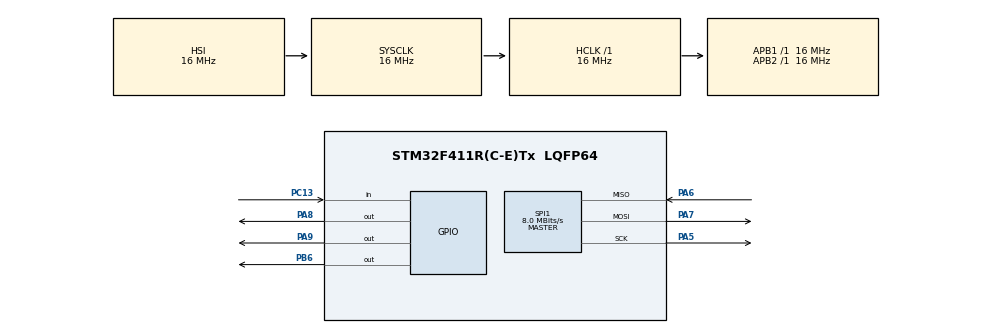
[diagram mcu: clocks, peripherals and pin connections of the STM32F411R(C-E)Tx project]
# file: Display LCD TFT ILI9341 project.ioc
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Mcu.Family=STM32F4
Mcu.Name=STM32F411R(C-E)Tx
Mcu.Package=LQFP64
NVIC.PriorityGroup=NVIC_PRIORITYGROUP_0
PA5.Mode=Full_Duplex_Master
PA5.Signal=SPI1_SCK
PA6.Mode=Full_Duplex_Master
PA6.Signal=SPI1_MISO
PA7.Mode=Full_Duplex_Master
PA7.Signal=SPI1_MOSI
PA8.Signal=GPIO_Output
PA9.PinState=GPIO_PIN_SET
PA9.Signal=GPIO_Output
PB6.PinState=GPIO_PIN_SET
PB6.Signal=GPIO_Output
PC13-ANTI_TAMP.GPIO_PuPd=GPIO_PULLUP
PC13-ANTI_TAMP.Signal=GPIO_Input
ProjectManager.HeapSize=0x200
ProjectManager.StackSize=0x400
ProjectManager.TargetToolchain=STM32CubeIDE
RCC.48MHZClocksFreq_Value=84000000
RCC.AHBFreq_Value=16000000
RCC.APB1Freq_Value=16000000
RCC.APB1TimFreq_Value=16000000
RCC.APB2Freq_Value=16000000
RCC.APB2TimFreq_Value=16000000
RCC.CortexFreq_Value=16000000
RCC.FLatency-AdvancedSettings=FLASH_LATENCY_0
RCC.HCLKFreq_Value=16000000
RCC.HSE_VALUE=8000000
RCC.HSI_VALUE=16000000
RCC.LSE_VALUE=32768
RCC.PLLN=336
RCC.PLLP=RCC_PLLP_DIV4
RCC.SYSCLKFreq_VALUE=16000000
RCC.VCOOutputFreq_Value=336000000
SPI1.CalculateBaudRate=8.0 MBits/s
SPI1.Direction=SPI_DIRECTION_2LINES
SPI1.Mode=SPI_MODE_MASTER
SPI1.VirtualType=VM_MASTER
TIM3.Prescaler=16000-1
VP_TIM3_VS_ClockSourceINT.Mode=Internal
board=NUCLEO-F411RE

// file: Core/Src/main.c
/* USER CODE BEGIN Header */
/**
  ******************************************************************************
  * @file           : main.c
  * @brief          : Main program body
  ******************************************************************************
  * @attention
  *
  * Copyright (c) 2024 STMicroelectronics.
  * All rights reserved.
  *
  * This software is licensed under terms that can be found in the LICENSE file
  * in the root directory of this software component.
  * If no LICENSE file comes with this software, it is provided AS-IS.
  *
  ******************************************************************************
  */
/* USER CODE END Header */
#include "main.h"

/* USER CODE BEGIN Includes */
#include "ili9341.h"
#include "lvgl.h"
/* USER CODE END Includes */

/* USER CODE BEGIN PD */
#define HORIZONTAL_RESOLUTION 320
#define VERTICAL_RESOLUTION 240
#define BYTES_PER_PIXEL (LV_COLOR_FORMAT_GET_SIZE(LV_COLOR_FORMAT_RGB565))
/* USER CODE END PD */

SPI_HandleTypeDef hspi1;

TIM_HandleTypeDef htim3;

/* USER CODE BEGIN PV */
lcdPropertiesTypeDef displayLcd = {
		.height = 240,
		.width = 320,
		.orientation = LCD_ORIENTATION_LANDSCAPE
};
static uint8_t buf1[HORIZONTAL_RESOLUTION * VERTICAL_RESOLUTION * BYTES_PER_PIXEL / 10];
uint8_t idx = 0;
uint32_t t, ut;
/* USER CODE END PV */

void SystemClock_Config(void);
static void MX_GPIO_Init(void);
static void MX_SPI1_Init(void);
static void MX_TIM3_Init(void);
/* USER CODE BEGIN PFP */
void my_flush_cb(lv_display_t * display, const lv_area_t * area, uint8_t * px_map)
{
    /* The most simple case (also the slowest) to send all rendered pixels to the
     * screen one-by-one.  `put_px` is just an example.  It needs to be implemented by you. */
    uint16_t * buf16 = (uint16_t *)px_map; /* Let's say it's a 16 bit (RGB565) display */
    int32_t x, y;
    for(y = area->y1; y <= area->y2; y++) {
        for(x = area->x1; x <= area->x2; x++) {
            ili9341_drawPixel(&displayLcd,(uint16_t) x, (uint16_t) y, *buf16);
            buf16++;
        }
    }

    /* IMPORTANT!!!
     * Inform LVGL that flushing is complete so buffer can be modified again. */
    lv_display_flush_ready(display);
}

void delay_ms(uint16_t time) {
	__HAL_TIM_SET_COUNTER(&htim3, 0);
	while(__HAL_TIM_GET_COUNTER(&htim3) <= time);
}

void button_clicked() {
	switch (idx) {
		case 0:
			lv_obj_set_style_bg_color(lv_screen_active(), lv_color_hex(COLOR_GREEN), LV_PART_MAIN);
			break;
		case 1:
			lv_obj_set_style_bg_color(lv_screen_active(), lv_color_hex(COLOR_RED), LV_PART_MAIN);
			break;
		case 2:
			lv_obj_set_style_bg_color(lv_screen_active(), lv_color_hex(COLOR_WHITE), LV_PART_MAIN);
			break;
		case 3:
			lv_obj_set_style_bg_color(lv_screen_active(), lv_color_hex(COLOR_MAGENTA), LV_PART_MAIN);
			break;
		default:
			break;
	}
	idx++;
}
/* USER CODE END PFP */

int main(void)
{

  /* MCU Configuration--------------------------------------------------------*/

  /* Reset of all peripherals, Initializes the Flash interface and the Systick. */
  HAL_Init();

  /* Configure the system clock */
  SystemClock_Config();

  /* Initialize all configured peripherals */
  MX_GPIO_Init();
  MX_SPI1_Init();
  MX_TIM3_Init();
  /* USER CODE BEGIN 2 */
  HAL_TIM_Base_Start(&htim3);
  ili9341_init();
  ili9341_setOrientation(&displayLcd);
  lv_init();
  lv_tick_set_cb(HAL_GetTick);
  //Cria display
  lv_display_t * display1 = lv_display_create(HORIZONTAL_RESOLUTION, VERTICAL_RESOLUTION);
  //Seta para usar Buffer no modo Render partial que usa 1/10 do tamanho de bytes do display
  lv_display_set_buffers(display1, buf1, NULL, sizeof(buf1), LV_DISPLAY_RENDER_MODE_PARTIAL);
  lv_display_set_flush_cb(display1, my_flush_cb);
  /* USER CODE END 2 */

  /* Infinite loop */
  /* USER CODE BEGIN WHILE */
  while (1)
  {
	  uint32_t time_till_next = lv_timer_handler();
	  delay_ms((uint16_t) time_till_next);
	  if(HAL_GPIO_ReadPin(GPIOC, GPIO_PIN_13) == GPIO_PIN_RESET) {
		  t = HAL_GetTick();
		  if(t - ut > 10) {
			  if(idx == 3) idx = 0;
			  button_clicked();
		  }
		  ut = t;
	  }
    /* USER CODE END WHILE */

  }
}

void SystemClock_Config(void)
{
  RCC_OscInitTypeDef RCC_OscInitStruct = {0};
  RCC_ClkInitTypeDef RCC_ClkInitStruct = {0};

  /** Configure the main internal regulator output voltage
  */
  __HAL_RCC_PWR_CLK_ENABLE();
  __HAL_PWR_VOLTAGESCALING_CONFIG(PWR_REGULATOR_VOLTAGE_SCALE1);

  /** Initializes the RCC Oscillators according to the specified parameters
  * in the RCC_OscInitTypeDef structure.
  */
  RCC_OscInitStruct.OscillatorType = RCC_OSCILLATORTYPE_HSI;
  RCC_OscInitStruct.HSIState = RCC_HSI_ON;
  RCC_OscInitStruct.HSICalibrationValue = RCC_HSICALIBRATION_DEFAULT;
  RCC_OscInitStruct.PLL.PLLState = RCC_PLL_NONE;
  if (HAL_RCC_OscConfig(&RCC_OscInitStruct) != HAL_OK)
  {
    Error_Handler();
  }

  /** Initializes the CPU, AHB and APB buses clocks
  */
  RCC_ClkInitStruct.ClockType = RCC_CLOCKTYPE_HCLK|RCC_CLOCKTYPE_SYSCLK
                              |RCC_CLOCKTYPE_PCLK1|RCC_CLOCKTYPE_PCLK2;
  RCC_ClkInitStruct.SYSCLKSource = RCC_SYSCLKSOURCE_HSI;
  RCC_ClkInitStruct.AHBCLKDivider = RCC_SYSCLK_DIV1;
  RCC_ClkInitStruct.APB1CLKDivider = RCC_HCLK_DIV1;
  RCC_ClkInitStruct.APB2CLKDivider = RCC_HCLK_DIV1;

  if (HAL_RCC_ClockConfig(&RCC_ClkInitStruct, FLASH_LATENCY_0) != HAL_OK)
  {
    Error_Handler();
  }
}

static void MX_SPI1_Init(void)
{

  /* SPI1 parameter configuration*/
  hspi1.Instance = SPI1;
  hspi1.Init.Mode = SPI_MODE_MASTER;
  hspi1.Init.Direction = SPI_DIRECTION_2LINES;
  hspi1.Init.DataSize = SPI_DATASIZE_8BIT;
  hspi1.Init.CLKPolarity = SPI_POLARITY_LOW;
  hspi1.Init.CLKPhase = SPI_PHASE_1EDGE;
  hspi1.Init.NSS = SPI_NSS_SOFT;
  hspi1.Init.BaudRatePrescaler = SPI_BAUDRATEPRESCALER_2;
  hspi1.Init.FirstBit = SPI_FIRSTBIT_MSB;
  hspi1.Init.TIMode = SPI_TIMODE_DISABLE;
  hspi1.Init.CRCCalculation = SPI_CRCCALCULATION_DISABLE;
  hspi1.Init.CRCPolynomial = 10;
  if (HAL_SPI_Init(&hspi1) != HAL_OK)
  {
    Error_Handler();
  }

}

static void MX_TIM3_Init(void)
{

  TIM_ClockConfigTypeDef sClockSourceConfig = {0};
  TIM_MasterConfigTypeDef sMasterConfig = {0};

  htim3.Instance = TIM3;
  htim3.Init.Prescaler = 16000-1;
  htim3.Init.CounterMode = TIM_COUNTERMODE_UP;
  htim3.Init.Period = 65535;
  htim3.Init.ClockDivision = TIM_CLOCKDIVISION_DIV1;
  htim3.Init.AutoReloadPreload = TIM_AUTORELOAD_PRELOAD_DISABLE;
  if (HAL_TIM_Base_Init(&htim3) != HAL_OK)
  {
    Error_Handler();
  }
  sClockSourceConfig.ClockSource = TIM_CLOCKSOURCE_INTERNAL;
  if (HAL_TIM_ConfigClockSource(&htim3, &sClockSourceConfig) != HAL_OK)
  {
    Error_Handler();
  }
  sMasterConfig.MasterOutputTrigger = TIM_TRGO_RESET;
  sMasterConfig.MasterSlaveMode = TIM_MASTERSLAVEMODE_DISABLE;
  if (HAL_TIMEx_MasterConfigSynchronization(&htim3, &sMasterConfig) != HAL_OK)
  {
    Error_Handler();
  }

}

static void MX_GPIO_Init(void)
{
  GPIO_InitTypeDef GPIO_InitStruct = {0};

  /* GPIO Ports Clock Enable */
  __HAL_RCC_GPIOC_CLK_ENABLE();
  __HAL_RCC_GPIOA_CLK_ENABLE();
  __HAL_RCC_GPIOB_CLK_ENABLE();

  /*Configure GPIO pin Output Level */
  HAL_GPIO_WritePin(GPIOA, GPIO_PIN_8, GPIO_PIN_RESET);

  /*Configure GPIO pin Output Level */
  HAL_GPIO_WritePin(GPIOA, GPIO_PIN_9, GPIO_PIN_SET);

  /*Configure GPIO pin Output Level */
  HAL_GPIO_WritePin(GPIOB, GPIO_PIN_6, GPIO_PIN_SET);

  /*Configure GPIO pin : PC13 */
  GPIO_InitStruct.Pin = GPIO_PIN_13;
  GPIO_InitStruct.Mode = GPIO_MODE_INPUT;
  GPIO_InitStruct.Pull = GPIO_PULLUP;
  HAL_GPIO_Init(GPIOC, &GPIO_InitStruct);

  /*Configure GPIO pins : PA8 PA9 */
  GPIO_InitStruct.Pin = GPIO_PIN_8|GPIO_PIN_9;
  GPIO_InitStruct.Mode = GPIO_MODE_OUTPUT_PP;
  GPIO_InitStruct.Pull = GPIO_NOPULL;
  GPIO_InitStruct.Speed = GPIO_SPEED_FREQ_LOW;
  HAL_GPIO_Init(GPIOA, &GPIO_InitStruct);

  /*Configure GPIO pin : PB6 */
  GPIO_InitStruct.Pin = GPIO_PIN_6;
  GPIO_InitStruct.Mode = GPIO_MODE_OUTPUT_PP;
  GPIO_InitStruct.Pull = GPIO_NOPULL;
  GPIO_InitStruct.Speed = GPIO_SPEED_FREQ_LOW;
  HAL_GPIO_Init(GPIOB, &GPIO_InitStruct);

}

void Error_Handler(void)
{
  __disable_irq();
  while (1)
  {
  }
}
